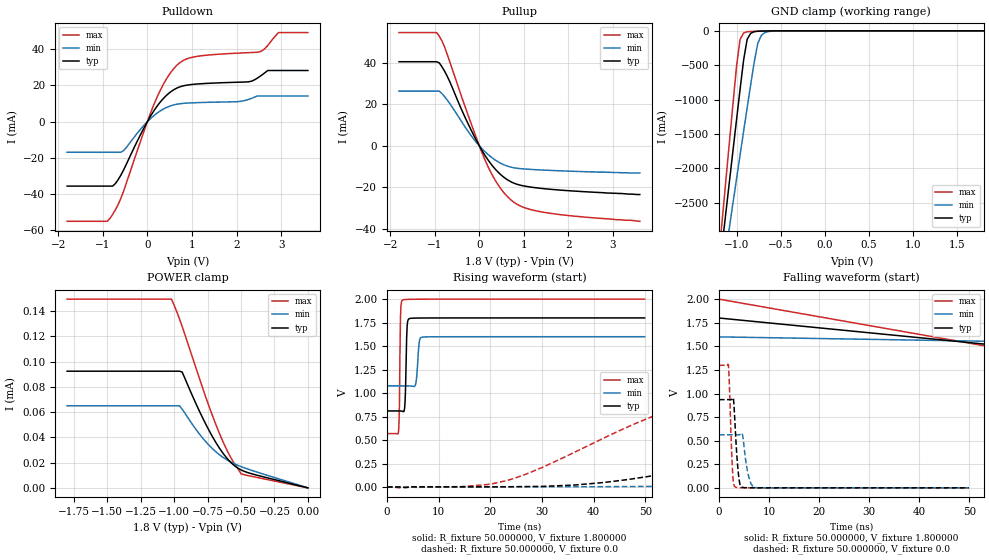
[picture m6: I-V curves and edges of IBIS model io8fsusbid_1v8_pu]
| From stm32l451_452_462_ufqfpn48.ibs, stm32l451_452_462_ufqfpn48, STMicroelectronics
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|   Model io8fsusbid_1v8_pu
[Model]  io8fsusbid_1v8_pu
Model_type I/O
Polarity   Non-Inverting
Enable   Active-Low
Vinl =   0.540000V
Vinh =   1.260000V
Vmeas =  0.900000V
Cref =   100.000000nF
Rref =   1.000000k
Vref =   1.800000V
C_comp   2.022300pF   2.021100pF   2.049600pF
[Temperature Range]   25.000000   0.125000k   -40.000000
[Pullup Reference]   1.800000V   1.600000V   2.000000V
[Pulldown Reference]   0.0V   0.0V   0.0V
[POWER Clamp Reference]   1.800000V   1.600000V   2.000000V
[GND Clamp Reference]   0.0V   0.0V   0.0V
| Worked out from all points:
|   slope of the pulldown table from 0 to 0.27 V, typ, clamps not added: 26.4 ohm
|   slope of the pullup table from 0 to 0.27 V, typ, clamps not added: 30.1 ohm
|   GND clamp passes 1 mA (typ) near -0.60 V on its own axis
|   rising waveform, R_fixture 50.000000, V_fixture 1.800000: 20-80 % time 251ps typ, 397ps min, 180ps max; typ from 0.81 V to 1.8 V
|   rising waveform, R_fixture 50.000000, V_fixture 0.0: 20-80 % time 65.2ns typ, 114ns min, 35.5ns max; typ from 0.001 V to 0.935 V
|   falling waveform, R_fixture 50.000000, V_fixture 1.800000: 20-80 % time 119ns typ, 161ns min, 92ns max; typ from 1.8 V to 0.81 V
|   falling waveform, R_fixture 50.000000, V_fixture 0.0: 20-80 % time 678ps typ, 984ps min, 517ps max; typ from 0.935 V to 0.001 V
[Pulldown]
|Voltage   I(typ)   I(min)   I(max)
-1.8V     -35.64mA   -16.93mA   -55.1mA
-840mV    -35.64mA   -16.93mA   -53.52mA
-720mV    -34.31mA   -16.93mA   -48.86mA
-540mV    -27.04mA   -16.13mA   -38.89mA
240mV     9.303mA    5.14mA     14.78mA
480mV     15.67mA    8.374mA    25.64mA
720mV     19.18mA    9.883mA    32.46mA
1.14V     20.87mA    10.54mA    36.19mA
2.28V     22.08mA    12.36mA    38.18mA
2.52V     24.96mA    14.18mA    38.63mA
2.94V     28.3mA     14.18mA    49.27mA
3.6V      28.3mA     14.18mA    49.27mA
[Pullup]
|Voltage   I(typ)   I(min)   I(max)
-1.8V     40.48mA    26.32mA    54.53mA
-960mV    40.48mA    26.32mA    54.53mA
-900mV    39.98mA    26.32mA    52.91mA
-780mV    36mA       23.73mA    47.67mA
-240mV    10.08mA    6.588mA    14.1mA
120mV     -4.38mA    -2.702mA   -6.45mA
240mV     -8.143mA   -5.004mA   -12mA
420mV     -12.68mA   -7.723mA   -18.77mA
720mV     -17.48mA   -10.36mA   -26.28mA
1.02V     -19.45mA   -11.2mA    -29.88mA
1.5V      -20.78mA   -11.79mA   -32.25mA
3.6V      -23.5mA    -13.1mA    -36.4mA
[GND_clamp]
|Voltage   I(typ)   I(min)   I(max)
-1.8V     -9.895A    -9.296A    -9.457A
-1.2V     -3.533A    -3.902A    -3.274A
-1.16V    -3.082A    -3.55A     -2.716A
-1.12V    -2.631A    -3.198A    -2.159A
-1.08V    -2.182A    -2.848A    -1.604A
-1V       -1.289A    -2.15A     -512mA
-960mV    -849.4mA   -1.803A    -123.8mA
-920mV    -422.4mA   -1.459A    -30.79mA
-880mV    -123.7mA   -1.118A    -13.63mA
-760mV    -6.32mA    -185mA     -5.692mA
-680mV    -2.569mA   -25.43mA   -2.907mA
1.8V      0A         0A         0A
[POWER_clamp]
|Voltage   I(typ)   I(min)   I(max)
-1.8V     92.32uA    64.98uA    149.4uA
-1.02V    92.32uA    64.98uA    149.4uA
-960mV    92.32uA    64.98uA    133.7uA
-940mV    91.68uA    62.28uA    127.8uA
-800mV    58.29uA    41.17uA    83.14uA
-700mV    38.06uA    29.69uA    53.4uA
-640mV    28.2uA     24.57uA    37.82uA
-600mV    22.83uA    21.83uA    28.76uA
-560mV    18.54uA    19.56uA    21uA
-500mV    14.23uA    16.82uA    11.13uA
-400mV    10.56uA    13.15uA    8.664uA
0V        0A         0A         0A
[Ramp]
| variable   typ   min   max
dV/dt_r  0.56071/65.15866n   0.33710/0.11418u   0.77863/35.46512n
dV/dt_f  0.59414/66.69548n   0.31416/0.11610u   0.85869/35.03815n
R_load = 50.000000
[Rising Waveform]
R_fixture= 50.000000
V_fixture= 1.800000
V_fixture_min= 1.600000
V_fixture_max= 2.000000
|time   V(typ)   V(min)   V(max)
0s        809.8mV    1.076V     568.8mV
2.202ns   809.8mV    1.076V     579.4mV
2.402ns   809.8mV    1.076V     855.9mV
2.603ns   809.7mV    1.076V     1.798V
3.003ns   806mV      1.076V     1.99V
3.504ns   911mV      1.077V     1.996V
3.904ns   1.719V     1.077V     1.997V
4.304ns   1.792V     1.076V     1.998V
6.807ns   1.799V     1.595V     1.999V
49.85ns   1.8V       1.6V       2V
[Rising Waveform]
R_fixture= 50.000000
V_fixture= 0.0
V_fixture_min= 0.0
V_fixture_max= 0.0
|time   V(typ)   V(min)   V(max)
0s        726.2uV    1.152mV    482.7uV
22.82ns   3.295mV    2.596mV    64.72mV
42.04ns   49.46mV    4.288mV    523.9mV
63.66ns   246.9mV    17.07mV    982.9mV
79.28ns   415.6mV    41.15mV    1.158V
98.5ns    593.6mV    95.26mV    1.243V
121.3ns   739.6mV    176.4mV    1.278V
159.8ns   867.5mV    308.8mV    1.294V
251.1ns   929.6mV    494.8mV    1.298V
598.2ns   935.3mV    563.1mV    1.298V
[Falling Waveform]
R_fixture= 50.000000
V_fixture= 1.800000
V_fixture_min= 1.600000
V_fixture_max= 2.000000
|time   V(typ)   V(min)   V(max)
0s        1.8V       1.6V       2V
150.2ns   1.017V     1.47V      598.5mV
300.3ns   823.1mV    1.139V     569.6mV
450.5ns   811mV      1.089V     568.9mV
750.8ns   809.7mV    1.077V     568.8mV
14.86us   809.8mV    1.076V     568.8mV
[Falling Waveform]
R_fixture= 50.000000
V_fixture= 0.0
V_fixture_min= 0.0
V_fixture_max= 0.0
|time   V(typ)   V(min)   V(max)
0s        935.3mV    563.1mV    1.298V
1.902ns   935.3mV    563.1mV    1.304V
2.703ns   946.8mV    563.1mV    193.1mV
2.903ns   943.6mV    563.1mV    54.99mV
3.303ns   586.7mV    563mV      8.665mV
4.004ns   99.27mV    562.8mV    2.544mV
4.705ns   5.495mV    566.4mV    1.762mV
5.806ns   1.186mV    152.1mV    1.574mV
7.107ns   794.5uV    4.738mV    1.508mV
49.85ns   726.2uV    1.152mV    482.7uV
